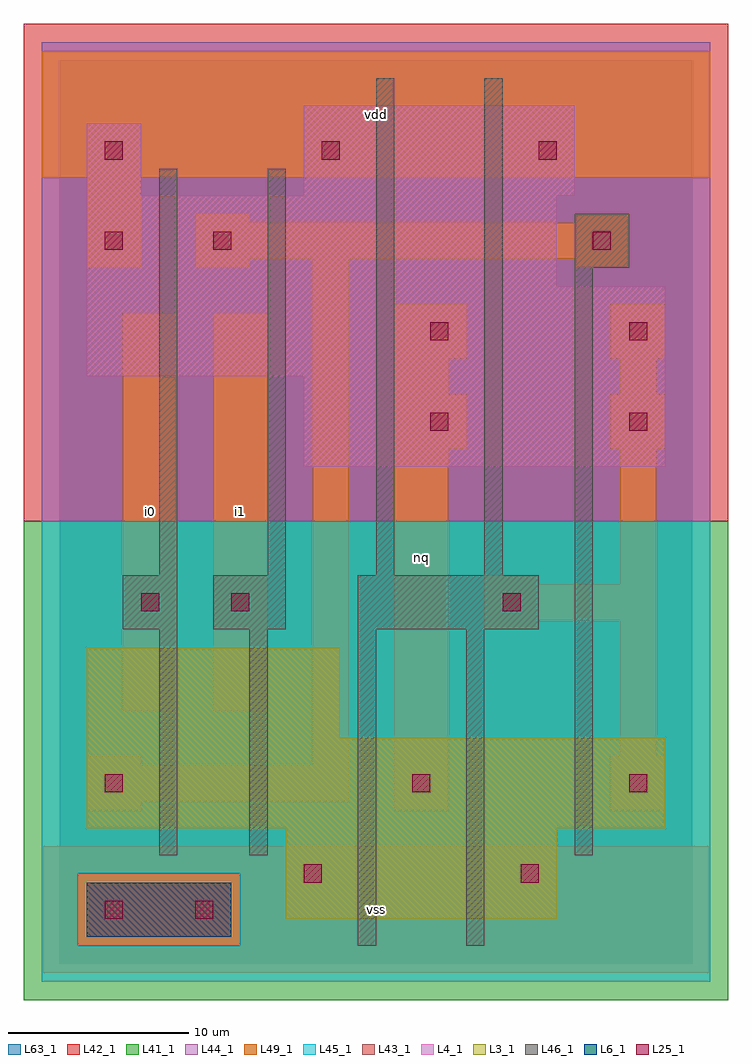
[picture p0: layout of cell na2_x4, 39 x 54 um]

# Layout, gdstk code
import gdstk
lib = gdstk.Library(unit=1e-6, precision=1e-09)
def R(c, l, rs):  # rectangles x0, y0, x1, y1
    for r in rs: c.add(gdstk.rectangle(r[:2], r[2:], *l))
def A(c, l, x, y, w, h, nx, ny, dx, dy):  # array of equal rectangles
    R(c, l, [(x+i*dx, y+j*dy, x+i*dx+w, y+j*dy+h) for i in range(nx) for j in range(ny)])
L3_1 = (3, 1)
L4_1 = (4, 1)
L6_1 = (6, 1)
L25_1 = (25, 1)
L41_1 = (41, 1)
L42_1 = (42, 1)
L43_1 = (43, 1)
L44_1 = (44, 1)
L45_1 = (45, 1)
L46_1 = (46, 1)
L49_1 = (49, 1)
L63_1 = (63, 1)

na2_x4 = lib.new_cell('na2_x4')
R(na2_x4, L3_1, [(12.5,2.5,27.5,7.5), (1.5,7.5,33.5,12.5), (1.5,12.5,15.5,17.5)])
R(na2_x4, L4_1, [(13.5,27.5,33.5,32.5), (1.5,32.5,33.5,37.5), (1.5,37.5,27.5,42.5), (1.5,42.5,4.5,46.5), (13.5,42.5,28.5,47.5)])
R(na2_x4, L6_1, [(1.5,1.5,9.5,4.5)])
A(na2_x4, L25_1, 2.5, 44.5, 1, 1, 3, 1, 12, 0)
R(na2_x4, L25_1, [(2.5,2.5,3.5,3.5), (7.5,2.5,8.5,3.5), (13.5,4.5,14.5,5.5), (25.5,4.5,26.5,5.5), (2.5,9.5,3.5,10.5), (19.5,9.5,20.5,10.5), (31.5,9.5,32.5,10.5), (4.5,19.5,5.5,20.5), (9.5,19.5,10.5,20.5), (24.5,19.5,25.5,20.5), (20.5,29.5,21.5,30.5), (31.5,29.5,32.5,30.5), (20.5,34.5,21.5,35.5), (31.5,34.5,32.5,35.5), (2.5,39.5,3.5,40.5), (8.5,39.5,9.5,40.5), (29.5,39.5,30.5,40.5)])
R(na2_x4, L41_1, [(-2,-2,37,24.5)])
R(na2_x4, L42_1, [(-2,24.5,37,52)])
R(na2_x4, L43_1, [(1.5,1.5,9.5,4.5), (12.5,2.5,27.5,7.5), (1.5,7.5,33.5,12.5), (1.5,12.5,15.5,17.5), (13.5,27.5,33.5,32.5), (1.5,32.5,33.5,37.5), (1.5,37.5,27.5,42.5), (1.5,42.5,4.5,46.5), (13.5,42.5,28.5,47.5)])
R(na2_x4, L44_1, [(1,1,10,5), (-1,24.5,36,51)])
R(na2_x4, L45_1, [(-1,-1,36,1), (-1,1,1,5), (10,1,36,5), (-1,5,36,24.5)])
R(na2_x4, L46_1, [(16.5,1,17.5,18.5), (22.5,1,23.5,18.5), (5.5,6,6.5,18.5), (10.5,6,11.5,18.5), (28.5,6,29.5,38.5), (3.5,18.5,6.5,21.5), (8.5,18.5,12.5,21.5), (16.5,18.5,26.5,21.5), (5.5,21.5,6.5,44), (11.5,21.5,12.5,44), (17.5,21.5,18.5,49), (23.5,21.5,24.5,49), (28.5,38.5,31.5,41.5)])
R(na2_x4, L49_1, [(-1,-0.5,36,6.5), (1.5,8.5,4.5,9), (18.5,8.5,21.5,28.5), (30.5,8.5,33.5,11.5), (1.5,9,16,11), (1.5,11,4.5,11.5), (14,11,16,39), (31,11.5,33,19), (3.5,14,6.5,36), (8.5,14,11.5,36), (23.5,18.5,26.5,19), (23.5,19,33,21), (23.5,21,26.5,21.5), (31,21,33,28.5), (18.5,28.5,22.5,31.5), (30.5,28.5,33.5,31.5), (18.5,31.5,21.5,33.5), (31,31.5,33,33.5), (18.5,33.5,22.5,36.5), (30.5,33.5,33.5,36.5), (1.5,38.5,4.5,43.5), (7.5,38.5,10.5,39), (28.5,38.5,31.5,39), (7.5,39,31.5,41), (7.5,41,10.5,41.5), (28.5,41,31.5,41.5), (-1,43.5,36,50.5)])
R(na2_x4, L63_1, [(0,0,35,50)])
na2_x4.add(gdstk.Label('i0', (5,25), layer=49, texttype=1))
na2_x4.add(gdstk.Label('i0', (5,25), layer=49, texttype=1))
na2_x4.add(gdstk.Label('i1', (10,25), layer=49, texttype=1))
na2_x4.add(gdstk.Label('i1', (10,25), layer=49, texttype=1))
na2_x4.add(gdstk.Label('vss', (17.5,3), layer=49, texttype=1))
na2_x4.add(gdstk.Label('vss', (17.5,3), layer=49, texttype=1))
na2_x4.add(gdstk.Label('nq', (20,22.5), layer=49, texttype=1))
na2_x4.add(gdstk.Label('nq', (20,22.5), layer=49, texttype=1))
na2_x4.add(gdstk.Label('vdd', (17.5,47), layer=49, texttype=1))
na2_x4.add(gdstk.Label('vdd', (17.5,47), layer=49, texttype=1))

lib.write_gds('na2_x4.gds')
